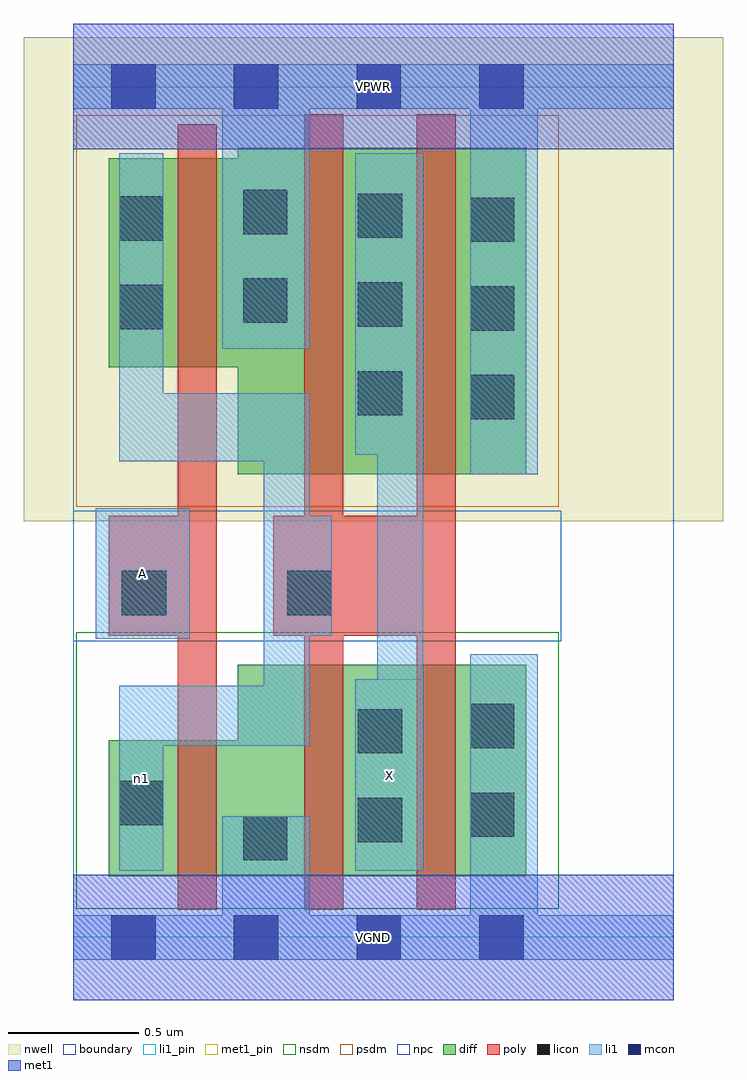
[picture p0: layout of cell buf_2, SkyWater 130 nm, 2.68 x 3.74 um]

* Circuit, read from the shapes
.subckt buf_2 A VGND VPWR X n1
XM1 VGND A n1 VSUBS sky130_fd_pr__nfet_01v8 w=0.52 l=0.15
XM2 X n1 VGND VSUBS sky130_fd_pr__nfet_01v8 w=0.81 l=0.15 m=2
XM3 VPWR A n1 n2 sky130_fd_pr__pfet_01v8 w=0.8 l=0.15
XM4 X n1 VPWR n2 sky130_fd_pr__pfet_01v8 w=1.25 l=0.15 m=2
.ends

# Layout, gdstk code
import gdstk
lib = gdstk.Library(unit=1e-6, precision=1e-09)
def R(c, l, rs):  # rectangles x0, y0, x1, y1
    for r in rs: c.add(gdstk.rectangle(r[:2], r[2:], *l))
def A(c, l, x, y, w, h, nx, ny, dx, dy):  # array of equal rectangles
    R(c, l, [(x+i*dx, y+j*dy, x+i*dx+w, y+j*dy+h) for i in range(nx) for j in range(ny)])
nwell = (64, 20)
diff = (65, 20)
poly = (66, 20)
licon = (66, 44)
li1_pin = (67, 16)
li1 = (67, 20)
mcon = (67, 44)
met1_pin = (68, 16)
met1 = (68, 20)
nsdm = (93, 44)
psdm = (94, 20)
npc = (95, 20)
boundary = (235, 4)

buf_2 = lib.new_cell('buf_2')
R(buf_2, nwell, [(-0.19,1.595,2.49,3.45), (0,1.595,2.3,3.45)])
R(buf_2, diff, [(0.135,0.235,1.735,0.755), (0.63,0.235,1.735,1.045), (0.63,1.775,1.735,3.025), (0.135,2.185,1.735,2.985)])
R(buf_2, poly, [(0.4,0.105,0.55,3.115), (0.885,0.105,1.035,3.155), (1.315,0.105,1.465,3.155), (0.135,1.155,0.55,1.615), (0.765,1.155,1.465,1.615)])
A(buf_2, licon, 1.52, 1.985, 0.17, 0.17, 1, 3, 0, 0.34)
A(buf_2, licon, 1.09, 2, 0.17, 0.17, 1, 3, 0, 0.34)
R(buf_2, licon, [(0.65,0.295,0.82,0.465), (1.09,0.365,1.26,0.535), (1.52,0.385,1.69,0.555), (0.175,0.43,0.345,0.6), (1.09,0.705,1.26,0.875), (1.52,0.725,1.69,0.895), (0.185,1.235,0.355,1.405), (0.82,1.235,0.99,1.405), (0.175,2.33,0.345,2.5), (0.65,2.355,0.82,2.525), (0.175,2.67,0.345,2.84), (0.65,2.695,0.82,2.865)])
R(buf_2, li1_pin, [(1.08,0.255,1.34,0.99), (0.085,1.145,0.445,1.645)])
R(buf_2, li1, [(0,-0.085,2.3,0.085), (0.57,-0.085,0.905,0.465), (1.52,-0.085,1.78,1.085), (0.175,0.255,0.345,0.965), (1.08,0.255,1.34,0.99), (1.165,0.255,1.34,3.005), (0.175,0.735,0.905,0.965), (0.73,0.735,0.905,2.085), (0.085,1.145,0.445,1.645), (0.73,1.155,0.99,1.615), (1.52,1.775,1.78,3.345), (0.175,1.825,0.345,3.005), (0.175,1.825,0.905,2.085), (1.08,1.85,1.34,3.005), (0.57,2.255,0.905,3.345), (0,3.175,2.3,3.345)])
A(buf_2, mcon, 0.145, -0.085, 0.17, 0.17, 4, 2, 0.47, 3.26)
R(buf_2, met1_pin, [(0,-0.24,2.3,0.24), (0,3.02,2.3,3.5)])
R(buf_2, met1, [(0,-0.24,2.3,0.24), (0,3.02,2.3,3.5)])
R(buf_2, nsdm, [(0.01,0.11,1.86,1.17)])
R(buf_2, psdm, [(0.01,1.65,1.86,3.15)])
R(buf_2, npc, [(0,1.135,1.87,1.635)])
R(buf_2, boundary, [(0,0,2.3,3.26)])
buf_2.add(gdstk.Label('A', (0.265,1.395), layer=67, texttype=5))
buf_2.add(gdstk.Label('X', (1.21,0.622), layer=67, texttype=5))
buf_2.add(gdstk.Label('n1', (0.26,0.61), layer=67, texttype=5))
buf_2.add(gdstk.Label('VPWR', (1.15,3.26), layer=68, texttype=5))
buf_2.add(gdstk.Label('VGND', (1.15,0), layer=68, texttype=5))
buf_2.add(gdstk.Label('A', (0.265,1.395), layer=67, texttype=16))
buf_2.add(gdstk.Label('X', (1.21,0.622), layer=67, texttype=16))
buf_2.add(gdstk.Label('VPWR', (1.15,3.26), layer=68, texttype=16))
buf_2.add(gdstk.Label('VGND', (1.15,0), layer=68, texttype=16))

lib.write_gds('buf_2.gds')
